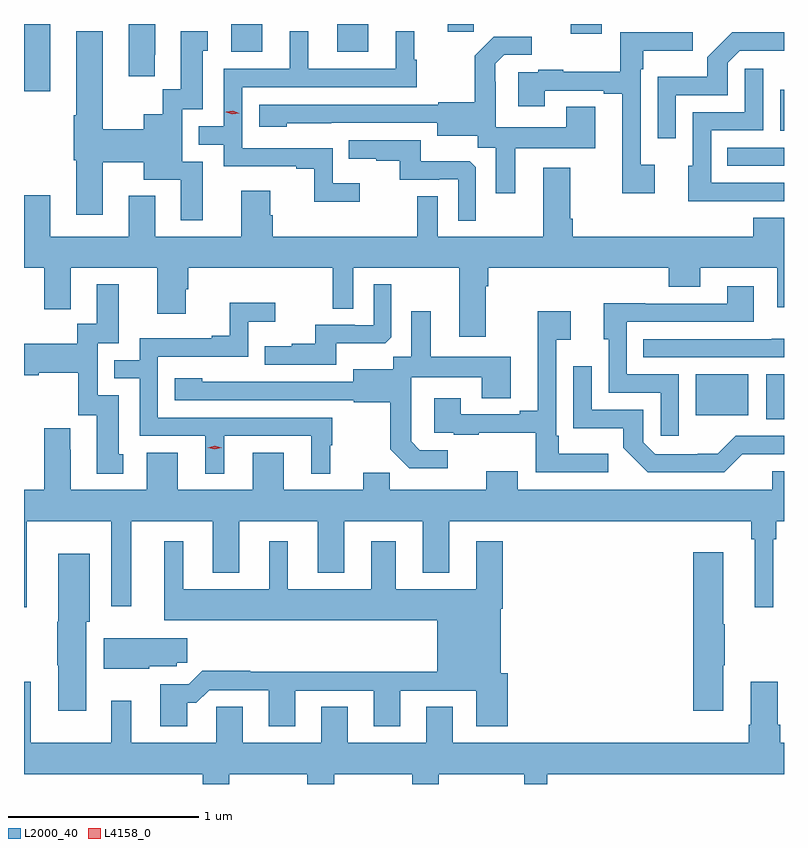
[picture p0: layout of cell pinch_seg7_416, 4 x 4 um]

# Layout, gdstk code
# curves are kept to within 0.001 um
import gdstk
lib = gdstk.Library(unit=1e-6, precision=1e-09)
def R(c, l, rs):  # rectangles x0, y0, x1, y1
    for r in rs: c.add(gdstk.rectangle(r[:2], r[2:], *l))
def P(c, l, *ps):  # polygons
    for p in ps: c.add(gdstk.Polygon(p, *l))
L2000_40 = (2000, 40)
L4158_0 = (4158, 0)

pinch_seg7_416 = lib.new_cell('pinch_seg7_416')
R(pinch_seg7_416, L2000_40, [(313.808,1071.749,313.901,1071.985), (313.436,1071.77,313.714,1071.985), (313.603,1073.082,313.901,1073.178), (313.88,1073.267,313.901,1073.482), (309.901,1073.475,310.039,1073.828), (310.991,1073.682,311.155,1073.828), (311.549,1073.682,311.713,1073.828), (312.779,1073.777,312.943,1073.828), (312.131,1073.786,312.269,1073.828)])
P(pinch_seg7_416, L2000_40, [(310.588,1073.665),(310.591,1073.665),(310.591,1073.828),(310.451,1073.828),(310.451,1073.553),(310.588,1073.553)],
  [(311.668,1072.99),(311.526,1072.99),(311.526,1073.175),(311.049,1073.175),(311.049,1073.496),(311.968,1073.496),(311.968,1073.64),(311.956,1073.64),(311.956,1073.791),(311.858,1073.791),(311.858,1073.592),(311.398,1073.592),(311.398,1073.791),(311.3,1073.791),(311.3,1073.592),(310.953,1073.592),(310.953,1073.289),(310.82,1073.289),(310.82,1073.193),(310.953,1073.193),(310.953,1073.079),(311.333,1073.079),(311.333,1073.067),(311.428,1073.067),(311.428,1072.892),(311.668,1072.892)],
  [(310.843,1073.103),(310.734,1073.103),(310.734,1073.379),(310.843,1073.379),(310.843,1073.688),(310.867,1073.688),(310.867,1073.791),(310.727,1073.791),(310.727,1073.484),(310.631,1073.484),(310.631,1073.353),(310.532,1073.353),(310.532,1073.273),(310.315,1073.273),(310.315,1073.791),(310.175,1073.791),(310.175,1073.349),(310.163,1073.349),(310.163,1073.112),(310.175,1073.112),(310.175,1072.824),(310.315,1072.824),(310.315,1073.101),(310.532,1073.101),(310.532,1073.009),(310.727,1073.009),(310.727,1072.794),(310.843,1072.794)],
  [(313.222,1073.086),(313.146,1073.086),(313.146,1073.591),(313.159,1073.591),(313.159,1073.687),(313.42,1073.687),(313.42,1073.784),(313.038,1073.784),(313.038,1073.576),(312.739,1073.576),(312.739,1073.587),(312.607,1073.587),(312.607,1073.574),(312.503,1073.574),(312.503,1073.394),(312.643,1073.394),(312.643,1073.478),(312.953,1073.478),(312.953,1073.46),(313.049,1073.46),(313.049,1072.938),(313.222,1072.938)],
  [(313.332,1073.454),(313.605,1073.454),(313.605,1073.625),(313.668,1073.688),(313.901,1073.687),(313.901,1073.784),(313.628,1073.784),(313.498,1073.654),(313.498,1073.551),(313.236,1073.551),(313.236,1073.226),(313.332,1073.226)],
  [(312.487,1073.174),(312.907,1073.174),(312.907,1073.393),(312.755,1073.393),(312.755,1073.284),(312.384,1073.284),(312.384,1073.525),(312.382,1073.525),(312.382,1073.62),(312.429,1073.667),(312.574,1073.667),(312.574,1073.761),(312.373,1073.761),(312.273,1073.661),(312.273,1073.416),(312.081,1073.416),(312.081,1073.403),(311.139,1073.403),(311.139,1073.288),(311.283,1073.288),(311.283,1073.306),(312.077,1073.307),(312.077,1073.24),(312.288,1073.24),(312.288,1073.176),(312.383,1073.176),(312.383,1072.938),(312.487,1072.938)],
  [(313.615,1072.896),(313.901,1072.896),(313.901,1072.992),(313.518,1072.992),(313.518,1073.268),(313.791,1073.268),(313.791,1073.593),(313.695,1073.593),(313.695,1073.364),(313.422,1073.364),(313.422,1073.082),(313.397,1073.082),(313.397,1072.895),(313.615,1072.895)],
  [(312.279,1073.073),(312.247,1073.105),(311.989,1073.105),(311.989,1073.217),(311.611,1073.217),(311.611,1073.12),(311.755,1073.12),(311.755,1073.109),(311.879,1073.109),(311.879,1073.007),(312.086,1073.007),(312.086,1073.01),(312.186,1073.01),(312.186,1072.793),(312.279,1072.793)],
  [(312.331,1072.448),(312.344,1072.448),(312.344,1072.544),(313.295,1072.544),(313.295,1072.445),(313.459,1072.445),(313.459,1072.544),(313.865,1072.544),(313.865,1072.338),(313.901,1072.338),(313.901,1072.807),(313.739,1072.807),(313.739,1072.708),(312.788,1072.708),(312.788,1072.804),(312.775,1072.804),(312.775,1073.071),(312.635,1073.071),(312.635,1072.708),(312.078,1072.708),(312.078,1072.922),(311.97,1072.922),(311.97,1072.708),(311.21,1072.708),(311.21,1072.821),(311.197,1072.821),(311.197,1072.951),(311.045,1072.951),(311.045,1072.708),(310.591,1072.708),(310.591,1072.924),(310.451,1072.924),(310.451,1072.708),(310.039,1072.708),(310.039,1072.927),(309.901,1072.927),(309.901,1072.544),(310.007,1072.544),(310.007,1072.326),(310.147,1072.326),(310.147,1072.544),(310.601,1072.544),(310.601,1072.302),(310.753,1072.302),(310.753,1072.431),(310.766,1072.431),(310.766,1072.544),(311.526,1072.544),(311.526,1072.33),(311.634,1072.33),(311.634,1072.544),(312.191,1072.544),(312.191,1072.182),(312.331,1072.182)],
  [(310.423,1071.564),(310.399,1071.564),(310.399,1071.873),(310.29,1071.873),(310.29,1072.149),(310.399,1072.149),(310.399,1072.459),(310.283,1072.459),(310.283,1072.25),(310.182,1072.25),(310.182,1072.144),(309.901,1072.144),(309.901,1071.98),(309.979,1071.98),(309.979,1071.992),(310.187,1071.992),(310.187,1071.768),(310.283,1071.768),(310.283,1071.462),(310.423,1071.462)],
  [(311.545,1072.148),(311.803,1072.148),(311.835,1072.179),(311.835,1072.459),(311.742,1072.459),(311.742,1072.242),(311.642,1072.242),(311.642,1072.245),(311.435,1072.245),(311.435,1072.144),(311.311,1072.144),(311.311,1072.132),(311.167,1072.132),(311.167,1072.035),(311.545,1072.035)],
  [(313.347,1071.984),(313.074,1071.984),(313.074,1072.26),(313.741,1072.26),(313.741,1072.447),(313.601,1072.447),(313.601,1072.356),(313.171,1072.356),(313.171,1072.358),(312.953,1072.358),(312.953,1072.17),(312.978,1072.17),(312.978,1071.888),(313.251,1071.888),(313.251,1071.66),(313.347,1071.66)],
  [(310.954,1071.66),(311.414,1071.66),(311.414,1071.461),(311.512,1071.461),(311.512,1071.612),(311.524,1071.612),(311.524,1071.756),(310.605,1071.756),(310.605,1072.077),(311.082,1072.077),(311.082,1072.262),(311.224,1072.262),(311.224,1072.361),(310.984,1072.361),(310.984,1072.186),(310.889,1072.186),(310.889,1072.173),(310.509,1072.173),(310.509,1072.059),(310.375,1072.059),(310.375,1071.963),(310.509,1071.963),(310.509,1071.66),(310.856,1071.66),(310.856,1071.461),(310.954,1071.461)],
  [(312.13,1071.585),(311.985,1071.585),(311.938,1071.632),(311.938,1071.727),(311.94,1071.727),(311.94,1071.968),(312.311,1071.968),(312.311,1071.859),(312.463,1071.859),(312.463,1072.078),(312.043,1072.078),(312.043,1072.315),(311.939,1072.315),(311.939,1072.076),(311.844,1072.076),(311.844,1072.012),(311.633,1072.012),(311.633,1071.945),(310.839,1071.946),(310.839,1071.964),(310.695,1071.964),(310.695,1071.849),(311.637,1071.849),(311.637,1071.837),(311.829,1071.837),(311.829,1071.591),(311.929,1071.491),(312.13,1071.491)],
  [(312.976,1071.565),(312.715,1071.565),(312.715,1071.661),(312.702,1071.661),(312.702,1072.166),(312.778,1072.166),(312.778,1072.315),(312.605,1072.315),(312.605,1071.793),(312.509,1071.793),(312.509,1071.774),(312.199,1071.774),(312.199,1071.859),(312.059,1071.859),(312.059,1071.678),(312.163,1071.678),(312.163,1071.666),(312.295,1071.666),(312.295,1071.677),(312.594,1071.677),(312.594,1071.468),(312.976,1071.468)],
  [(313.901,1072.171),(313.837,1072.171),(313.837,1072.17),(313.159,1072.17),(313.159,1072.074),(313.901,1072.074)],
  [(313.682,1071.563),(313.901,1071.563),(313.901,1071.66),(313.647,1071.66),(313.553,1071.566),(313.448,1071.566),(313.448,1071.564),(313.224,1071.564),(313.161,1071.627),(313.161,1071.798),(312.888,1071.798),(312.888,1072.027),(312.792,1072.027),(312.792,1071.701),(313.054,1071.701),(313.054,1071.599),(313.184,1071.468),(313.587,1071.468)],
  [(309.916,1071.212),(310.361,1071.212),(310.361,1070.763),(310.465,1070.763),(310.465,1071.212),(310.895,1071.212),(310.895,1070.939),(311.035,1070.939),(311.035,1071.212),(311.447,1071.212),(311.447,1070.939),(311.587,1070.939),(311.587,1071.212),(311.999,1071.212),(311.999,1070.939),(312.139,1070.939),(312.139,1071.212),(313.729,1071.212),(313.729,1071.116),(313.748,1071.116),(313.748,1070.757),(313.845,1070.757),(313.845,1071.116),(313.859,1071.116),(313.859,1071.212),(313.901,1071.212),(313.901,1071.474),(313.838,1071.474),(313.838,1071.376),(312.499,1071.376),(312.499,1071.475),(312.335,1071.475),(312.335,1071.376),(311.825,1071.376),(311.825,1071.467),(311.687,1071.467),(311.687,1071.376),(311.269,1071.376),(311.269,1071.571),(311.105,1071.571),(311.105,1071.376),(310.711,1071.376),(310.711,1071.571),(310.547,1071.571),(310.547,1071.376),(310.147,1071.376),(310.147,1071.587),(310.144,1071.587),(310.144,1071.7),(310.007,1071.7),(310.007,1071.376),(309.901,1071.376),(309.901,1070.757),(309.916,1070.757)],
  [(310.759,1070.255),(310.808,1070.255),(310.875,1070.322),(311.189,1070.322),(311.189,1070.133),(311.329,1070.133),(311.329,1070.319),(311.741,1070.319),(311.741,1070.133),(311.881,1070.133),(311.881,1070.319),(312.281,1070.319),(312.281,1070.133),(312.446,1070.133),(312.446,1070.412),(312.409,1070.412),(312.409,1070.75),(312.422,1070.75),(312.422,1071.106),(312.281,1071.106),(312.281,1070.854),(311.857,1070.854),(311.857,1071.106),(311.729,1071.106),(311.729,1070.854),(311.29,1070.854),(311.29,1071.106),(311.192,1071.106),(311.192,1070.854),(310.738,1070.854),(310.738,1071.106),(310.64,1071.106),(310.64,1070.69),(312.077,1070.69),(312.077,1070.42),(311.093,1070.42),(311.093,1070.423),(310.838,1070.423),(310.767,1070.352),(310.619,1070.352),(310.619,1070.133),(310.759,1070.133)],
  [(313.582,1070.452),(313.59,1070.452),(313.59,1070.669),(313.582,1070.669),(313.582,1071.049),(313.424,1071.049),(313.424,1070.214),(313.582,1070.214)],
  [(310.228,1070.682),(310.246,1070.682),(310.246,1071.04),(310.082,1071.04),(310.082,1070.682),(310.075,1070.682),(310.075,1070.452),(310.082,1070.452),(310.082,1070.214),(310.228,1070.214)],
  [(310.56,1070.447),(310.704,1070.447),(310.704,1070.467),(310.759,1070.467),(310.759,1070.596),(310.32,1070.596),(310.32,1070.435),(310.56,1070.435)],
  [(310.981,1069.88),(311.393,1069.88),(311.393,1069.828),(311.533,1069.828),(311.533,1069.88),(311.945,1069.88),(311.945,1069.828),(312.084,1069.828),(312.084,1069.88),(312.533,1069.88),(312.533,1069.828),(312.655,1069.828),(312.655,1069.88),(313.901,1069.88),(313.901,1070.044),(313.88,1070.044),(313.88,1070.14),(313.867,1070.14),(313.867,1070.365),(313.727,1070.365),(313.727,1070.14),(313.715,1070.14),(313.715,1070.044),(312.157,1070.044),(312.157,1070.234),(312.017,1070.234),(312.017,1070.044),(311.605,1070.044),(311.605,1070.234),(311.465,1070.234),(311.465,1070.044),(311.053,1070.044),(311.053,1070.234),(310.914,1070.234),(310.914,1070.044),(310.465,1070.044),(310.465,1070.266),(310.361,1070.266),(310.361,1070.044),(309.937,1070.044),(309.937,1070.365),(309.901,1070.365),(309.901,1069.88),(310.841,1069.88),(310.841,1069.828),(310.981,1069.828)])
P(pinch_seg7_416, L4158_0, [(310.998,1073.352),(310.965,1073.364),(310.964,1073.364),(310.965,1073.365),(311,1073.372),(311.033,1073.359),(311.034,1073.359),(311.033,1073.359)],
  [(310.905,1071.589),(310.869,1071.599),(310.869,1071.599),(310.869,1071.599),(310.905,1071.609),(310.941,1071.599),(310.941,1071.599),(310.941,1071.599)])

lib.write_gds('pinch_seg7_416.gds')
